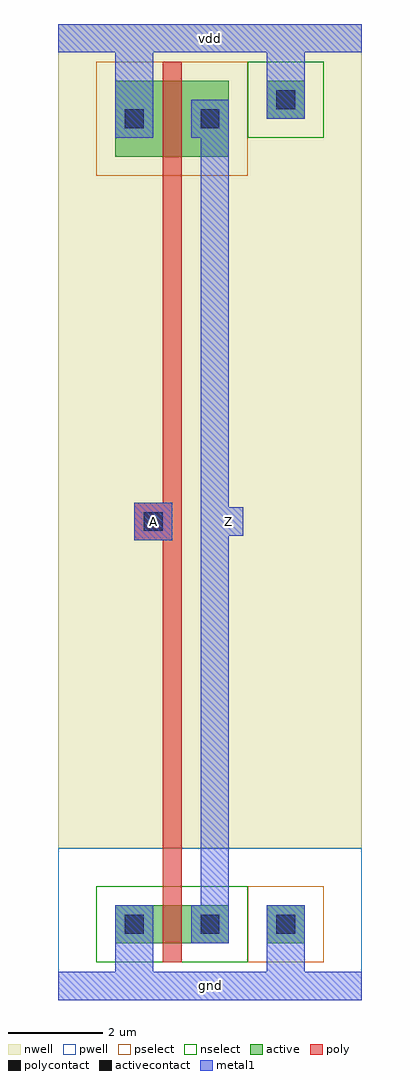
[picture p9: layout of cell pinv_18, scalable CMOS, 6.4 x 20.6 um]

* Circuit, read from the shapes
.subckt pinv_18 A Z gnd vdd
M1 Z A gnd gnd nfet w=0.8u l=0.4u
M2 Z A vdd vdd pfet w=1.6u l=0.4u
.ends

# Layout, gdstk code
import gdstk
lib = gdstk.Library(unit=1e-6, precision=1e-09)
def R(c, l, rs):  # rectangles x0, y0, x1, y1
    for r in rs: c.add(gdstk.rectangle(r[:2], r[2:], *l))
pwell = (41, 0)
nwell = (42, 0)
active = (43, 0)
pselect = (44, 0)
nselect = (45, 0)
poly = (46, 0)
polycontact = (47, 0)
activecontact = (48, 0)
metal1 = (49, 0)

active_contact_metal1_1x = lib.new_cell('active_contact_metal1_1x1_pn')
R(active_contact_metal1_1x, nwell, [(-1.2,-1.2,2,2)])
R(active_contact_metal1_1x, active, [(0,0,0.8,0.8)])
R(active_contact_metal1_1x, pselect, [(-0.4,-0.4,1.2,1.2)])
R(active_contact_metal1_1x, activecontact, [(0.2,0.2,0.6,0.6)])
R(active_contact_metal1_1x, metal1, [(0,0,0.8,0.8)])

pmos_m1_w1_6_a_p = lib.new_cell('pmos_m1_w1_6_a_p')
R(pmos_m1_w1_6_a_p, nwell, [(-1.2,-1.2,3.6,2.8)])
R(pmos_m1_w1_6_a_p, active, [(0,0,2.4,1.6)])
R(pmos_m1_w1_6_a_p, pselect, [(-0.4,-0.4,2.8,2)])
R(pmos_m1_w1_6_a_p, poly, [(1,-0.4,1.4,2), (1,-0.4,1.4,2)])
R(pmos_m1_w1_6_a_p, metal1, [(0,0.4,0.8,1.2), (1.6,0.4,2.4,1.2)])
pmos_m1_w1_6_a_p.add(gdstk.Reference(active_contact_metal1_1x, (0,0.4)))
pmos_m1_w1_6_a_p.add(gdstk.Reference(active_contact_metal1_1x, (1.6,0.4)))
pmos_m1_w1_6_a_p.add(gdstk.Label('G', (1.2,0.8), layer=46, texttype=0))
pmos_m1_w1_6_a_p.add(gdstk.Label('S', (0.4,0.8), layer=49, texttype=0))
pmos_m1_w1_6_a_p.add(gdstk.Label('D', (2,0.8), layer=49, texttype=0))

c_active_contact_metal1_1x = lib.new_cell('active_contact_metal1_1x1_np')
R(c_active_contact_metal1_1x, pwell, [(-1.2,-1.2,2,2)])
R(c_active_contact_metal1_1x, active, [(0,0,0.8,0.8)])
R(c_active_contact_metal1_1x, nselect, [(-0.4,-0.4,1.2,1.2)])
R(c_active_contact_metal1_1x, activecontact, [(0.2,0.2,0.6,0.6)])
R(c_active_contact_metal1_1x, metal1, [(0,0,0.8,0.8)])

nmos_m1_w0_8_a_p = lib.new_cell('nmos_m1_w0_8_a_p')
R(nmos_m1_w0_8_a_p, pwell, [(-1.2,-1.2,3.6,2)])
R(nmos_m1_w0_8_a_p, active, [(0,0,2.4,0.8)])
R(nmos_m1_w0_8_a_p, nselect, [(-0.4,-0.4,2.8,1.2)])
R(nmos_m1_w0_8_a_p, poly, [(1,-0.4,1.4,1.2), (1,-0.4,1.4,1.2)])
R(nmos_m1_w0_8_a_p, metal1, [(0,0,0.8,0.8), (1.6,0,2.4,0.8)])
nmos_m1_w0_8_a_p.add(gdstk.Reference(c_active_contact_metal1_1x, (0,0)))
nmos_m1_w0_8_a_p.add(gdstk.Reference(c_active_contact_metal1_1x, (1.6,0)))
nmos_m1_w0_8_a_p.add(gdstk.Label('G', (1.2,0.4), layer=46, texttype=0))
nmos_m1_w0_8_a_p.add(gdstk.Label('S', (0.4,0.4), layer=49, texttype=0))
nmos_m1_w0_8_a_p.add(gdstk.Label('D', (2,0.4), layer=49, texttype=0))

c_active_contact_metal1_1x_ = lib.new_cell('active_contact_metal1_1x1_nn')
R(c_active_contact_metal1_1x_, nwell, [(-1.2,-1.2,2,2)])
R(c_active_contact_metal1_1x_, active, [(0,0,0.8,0.8)])
R(c_active_contact_metal1_1x_, nselect, [(-0.4,-0.4,1.2,1.2)])
R(c_active_contact_metal1_1x_, activecontact, [(0.2,0.2,0.6,0.6)])
R(c_active_contact_metal1_1x_, metal1, [(0,0,0.8,0.8)])

c_active_contact_metal1_1x__ = lib.new_cell('active_contact_metal1_1x1_pp')
R(c_active_contact_metal1_1x__, pwell, [(-1.2,-1.2,2,2)])
R(c_active_contact_metal1_1x__, active, [(0,0,0.8,0.8)])
R(c_active_contact_metal1_1x__, pselect, [(-0.4,-0.4,1.2,1.2)])
R(c_active_contact_metal1_1x__, activecontact, [(0.2,0.2,0.6,0.6)])
R(c_active_contact_metal1_1x__, metal1, [(0,0,0.8,0.8)])

poly_contact_metal1_1x1 = lib.new_cell('poly_contact_metal1_1x1')
R(poly_contact_metal1_1x1, poly, [(0,0,0.8,0.8)])
R(poly_contact_metal1_1x1, polycontact, [(0.2,0.2,0.6,0.6)])
R(poly_contact_metal1_1x1, metal1, [(0,0,0.8,0.8)])

pinv_18 = lib.new_cell('pinv_18')
R(pinv_18, pwell, [(0,-0.3,6.4,2.9)])
R(pinv_18, nwell, [(0,2.9,6.4,20.3)])
R(pinv_18, poly, [(2.2,0.5,2.6,17.1), (2,9.4,2.2,10.2)])
R(pinv_18, metal1, [(0,-0.3,6.4,0.3), (1.2,-0.3,2,0.9), (4.4,0,5.2,1.3), (3,0.9,3.6,17.9), (1.6,9.4,2.4,10.2), (3.3,9.5,3.9,10.1), (1.2,17.9,2,20.3), (4.4,18.7,5.2,20), (0,19.7,6.4,20.3)])
pinv_18.add(gdstk.Reference(pmos_m1_w1_6_a_p, (1.2,17.5)))
pinv_18.add(gdstk.Reference(nmos_m1_w0_8_a_p, (1.2,0.9)))
pinv_18.add(gdstk.Reference(c_active_contact_metal1_1x_, (4.4,18.3)))
pinv_18.add(gdstk.Reference(c_active_contact_metal1_1x__, (4.4,0.9)))
pinv_18.add(gdstk.Reference(poly_contact_metal1_1x1, (1.6,9.4)))
pinv_18.add(gdstk.Label('gnd', (3.2,0), layer=49, texttype=0))
pinv_18.add(gdstk.Label('vdd', (3.2,20), layer=49, texttype=0))
pinv_18.add(gdstk.Label('A', (2,9.8), layer=49, texttype=0))
pinv_18.add(gdstk.Label('Z', (3.6,9.8), layer=49, texttype=0))

lib.write_gds('pinv_18.gds')
